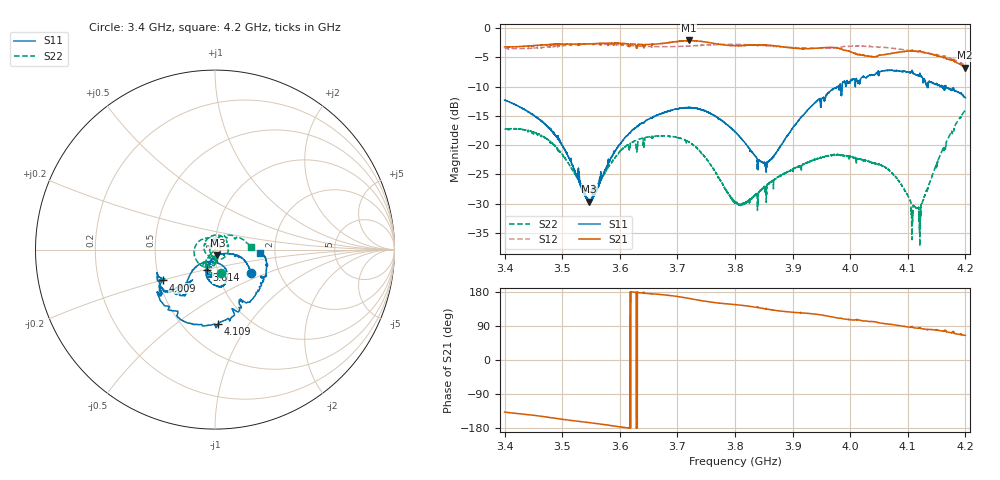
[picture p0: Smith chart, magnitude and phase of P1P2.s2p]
# GHZ S DB R 50.000000000000
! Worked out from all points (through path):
!   4501 points, 3.4 GHz to 4.2 GHz, reference 50 ohm
!   highest |S21| = -2.10 dB at 3.72 GHz (marker M1); lowest = -6.8 dB at 4.2 GHz (marker M2)
!   lowest |S11| = -29.7 dB at 3.547 GHz (marker M3), VSWR 1.07, Z = 51.3 - j3.08 ohm
!   |S11| at or under -10 dB: start of sweep to 3.979 GHz; 3.983328 GHz to 3.986073 GHz (2.745 MHz wide, 0.0689 % of centre); 4.166 GHz to end of sweep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
!   |S22| runs from -37.3 to -14.0 dB; largest |S21 - S12| = 0.13
!   S11 on the Smith chart (normalised r, x): 3.4 GHz: 1.44, -0.40; 3.614 GHz: 0.89, -0.20; 4.009 GHz: 0.52, -0.20; 4.109 GHz: 0.73, -0.73; 4.2 GHz: 1.68, -0.06
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3.4  -12.34 -32.9  -3.21 -137.4  -3.44 -140.7  -17.27 -74.7
3.482489  -17.70 -14.7  -2.80 -152.7  -3.14 -151.7  -19.66 -120.1
3.533511  -27.48 -35.5  -2.72 -162.8  -2.77 -161.8  -26.82 -122.1
3.546667  -29.66 -65.9  -2.67 -165.2  -2.75 -164.8  -28.04 -106.0
3.614044  -18.26 -112.4  -2.72 -179.2  -2.97 -179.0  -19.95 -103.5
3.666844  -14.79 -98.4  -2.68 173.3  -3.17 172.5  -18.45 -145.3
3.719822  -13.60 -80.7  -2.10 162.5  -3.05 164.2  -19.45 161.5
3.8  -17.71 -61.1  -2.99 146.2  -2.77 147.9  -29.85 25.5
3.839467  -22.62 -80.0  -2.89 138.6  -2.93 139.3  -28.47 -77.0
3.855467  -22.93 -104.7  -2.91 134.4  -3.01 136.0  -26.85 -110.7
3.933511  -13.28 -132.9  -3.47 122.0  -3.43 123.1  -22.74 125.8
3.9744  -10.23 -124.7  -3.35 111.9  -3.35 116.2  -21.69 65.9
4.008711  -9.45 -149.3  -4.31 106.0  -3.07 107.8  -22.22 18.1
4.042667  -7.95 -143.4  -4.89 100.9  -3.21 98.6  -23.11 -25.7
4.052267  -7.43 -119.5  -4.62 97.5  -3.23 97.4  -23.44 -39.2
4.066844  -7.21 -112.9  -4.40 94.5  -3.37 93.4  -24.24 -59.6
4.098489  -7.49 -95.1  -3.96 87.6  -3.77 85.7  -28.41 -119.2
4.1088  -7.69 -87.5  -3.88 86.0  -3.90 83.5  -30.56 -150.0
4.123022  -8.31 -75.0  -4.04 83.0  -4.11 79.9  -30.20 149.9
4.157867  -9.83 -34.0  -4.87 77.1  -4.72 71.9  -21.40 63.1
4.199822  -11.91 -3.8  -6.79 65.1  -6.39 64.1  -14.04 4.5
4.2  -11.90 -4.0  -6.78 65.0  -6.39 64.0  -14.02 4.2
